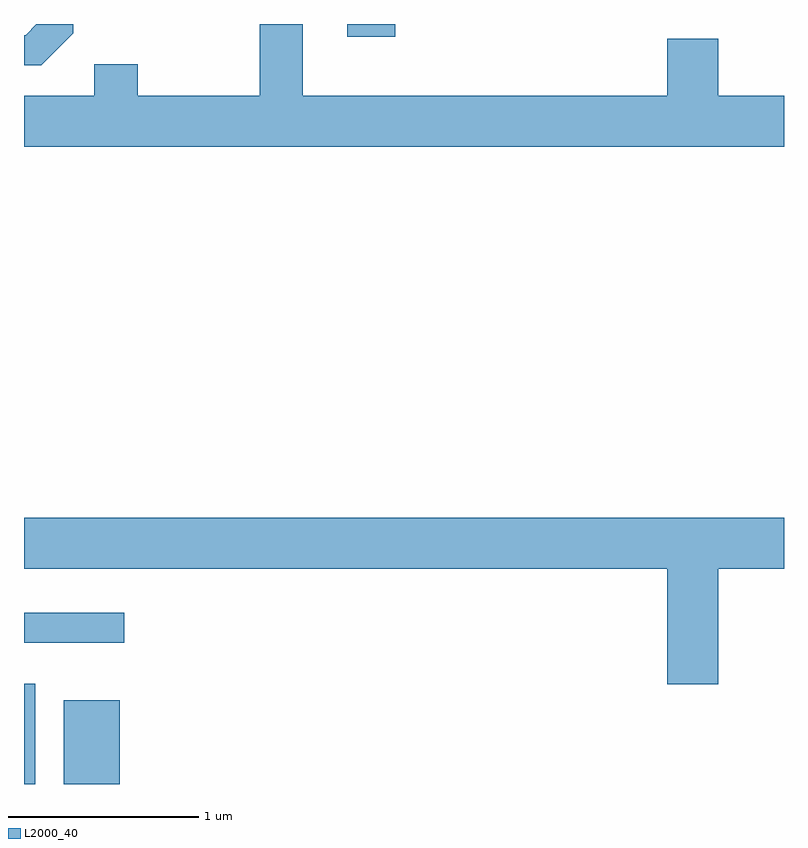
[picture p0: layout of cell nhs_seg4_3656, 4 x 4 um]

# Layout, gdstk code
import gdstk
lib = gdstk.Library(unit=1e-6, precision=1e-09)
def R(c, l, rs):  # rectangles x0, y0, x1, y1
    for r in rs: c.add(gdstk.rectangle(r[:2], r[2:], *l))
def P(c, l, *ps):  # polygons
    for p in ps: c.add(gdstk.Polygon(p, *l))
L2000_40 = (2000, 40)

nhs_seg4_3656 = lib.new_cell('nhs_seg4_3656')
R(nhs_seg4_3656, L2000_40, [(291.611,1357.982,291.669,1358.509), (291.821,1357.982,292.114,1358.424), (291.611,1358.726,292.138,1358.884), (293.311,1361.916,293.564,1361.982)])
P(nhs_seg4_3656, L2000_40, [(295.611,1361.604),(295.264,1361.604),(295.264,1361.904),(294.996,1361.904),(294.996,1361.604),(293.079,1361.604),(293.079,1361.982),(292.851,1361.982),(292.851,1361.604),(292.209,1361.604),(292.209,1361.769),(291.981,1361.769),(291.981,1361.604),(291.611,1361.604),(291.611,1361.336),(295.611,1361.336)],
  [(291.869,1361.934),(291.869,1361.982),(291.676,1361.982),(291.619,1361.924),(291.611,1361.924),(291.611,1361.766),(291.702,1361.766)],
  [(295.264,1359.116),(295.611,1359.116),(295.611,1359.384),(291.611,1359.384),(291.611,1359.116),(294.996,1359.116),(294.996,1358.506),(295.264,1358.506)])

lib.write_gds('nhs_seg4_3656.gds')
